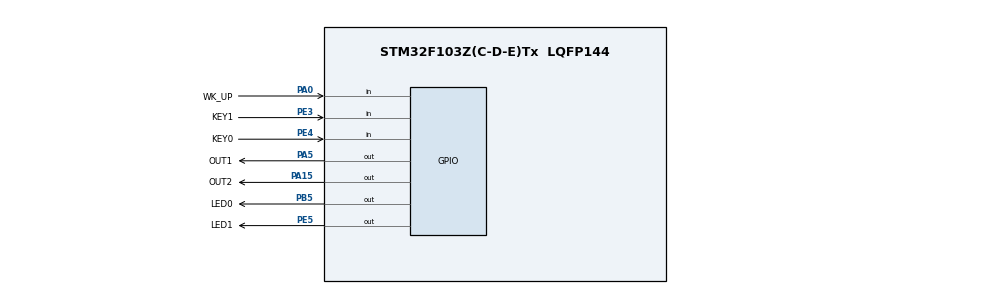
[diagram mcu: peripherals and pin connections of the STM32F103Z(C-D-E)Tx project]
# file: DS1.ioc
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Mcu.Family=STM32F1
Mcu.Name=STM32F103Z(C-D-E)Tx
Mcu.Package=LQFP144
NVIC.PriorityGroup=NVIC_PRIORITYGROUP_4
PA0-WKUP.GPIO_Label=WK_UP
PA0-WKUP.GPIO_PuPd=GPIO_PULLDOWN
PA0-WKUP.Signal=GPIO_Input
PA13.Mode=Serial_Wire
PA13.Signal=SYS_JTMS-SWDIO
PA14.Mode=Serial_Wire
PA14.Signal=SYS_JTCK-SWCLK
PA15.GPIO_Label=OUT2
PA15.Signal=GPIO_Output
PA5.GPIO_Label=OUT1
PA5.Signal=GPIO_Output
PB5.GPIO_Label=LED0
PB5.GPIO_ModeDefaultOutputPP=GPIO_MODE_OUTPUT_PP
PB5.PinState=GPIO_PIN_RESET
PB5.Signal=GPIO_Output
PE3.GPIO_Label=KEY1
PE3.GPIO_PuPd=GPIO_PULLUP
PE3.Signal=GPIO_Input
PE4.GPIO_Label=KEY0
PE4.GPIO_PuPd=GPIO_PULLUP
PE4.Signal=GPIO_Input
PE5.GPIO_Label=LED1
PE5.PinState=GPIO_PIN_RESET
PE5.Signal=GPIO_Output
ProjectManager.HeapSize=0x200
ProjectManager.StackSize=0x400
ProjectManager.TargetToolchain=STM32CubeIDE
RCC.APB1Freq_Value=8000000
RCC.APB2Freq_Value=8000000
board=custom

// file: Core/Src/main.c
/* USER CODE BEGIN Header */
/**
  ******************************************************************************
  * @file           : main.c
  * @brief          : Main program body
  ******************************************************************************
  * @attention
  *
  * <h2><center>&copy; Copyright (c) 2020 STMicroelectronics.
  * All rights reserved.</center></h2>
  *
  * This software component is licensed by ST under BSD 3-Clause license,
  * the "License"; You may not use this file except in compliance with the
  * License. You may obtain a copy of the License at:
  *                        opensource.org/licenses/BSD-3-Clause
  *
  ******************************************************************************
  */
/* USER CODE END Header */
#include "main.h"

/* USER CODE BEGIN PV */
uint8_t KEY_Scan(uint8_t mode);
/* USER CODE END PV */

void SystemClock_Config(void);
static void MX_GPIO_Init(void);

int main(void)
{

  /* MCU Configuration--------------------------------------------------------*/

  /* Reset of all peripherals, Initializes the Flash interface and the Systick. */
  HAL_Init();

  /* Configure the system clock */
  SystemClock_Config();

  /* Initialize all configured peripherals */
  MX_GPIO_Init();
  /* USER CODE BEGIN 2 */
  uint8_t MODE=1;

  //uint8_t MODE3=0;
  uint16_t i=0;
  uint16_t n=0;
  uint16_t npwm=50;
  int16_t FER=500;
  int16_t PWM=50;
  /* USER CODE END 2 */

  /* Infinite loop */
  while (1)
  {

  }
}

void SystemClock_Config(void)
{
  RCC_OscInitTypeDef RCC_OscInitStruct = {0};
  RCC_ClkInitTypeDef RCC_ClkInitStruct = {0};

  /** Initializes the RCC Oscillators according to the specified parameters
  * in the RCC_OscInitTypeDef structure.
  */
  RCC_OscInitStruct.OscillatorType = RCC_OSCILLATORTYPE_HSI;
  RCC_OscInitStruct.HSIState = RCC_HSI_ON;
  RCC_OscInitStruct.HSICalibrationValue = RCC_HSICALIBRATION_DEFAULT;
  RCC_OscInitStruct.PLL.PLLState = RCC_PLL_NONE;
  if (HAL_RCC_OscConfig(&RCC_OscInitStruct) != HAL_OK)
  {
    Error_Handler();
  }
  /** Initializes the CPU, AHB and APB buses clocks
  */
  RCC_ClkInitStruct.ClockType = RCC_CLOCKTYPE_HCLK|RCC_CLOCKTYPE_SYSCLK
                              |RCC_CLOCKTYPE_PCLK1|RCC_CLOCKTYPE_PCLK2;
  RCC_ClkInitStruct.SYSCLKSource = RCC_SYSCLKSOURCE_HSI;
  RCC_ClkInitStruct.AHBCLKDivider = RCC_SYSCLK_DIV1;
  RCC_ClkInitStruct.APB1CLKDivider = RCC_HCLK_DIV1;
  RCC_ClkInitStruct.APB2CLKDivider = RCC_HCLK_DIV1;

  if (HAL_RCC_ClockConfig(&RCC_ClkInitStruct, FLASH_LATENCY_0) != HAL_OK)
  {
    Error_Handler();
  }
}

static void MX_GPIO_Init(void)
{
  GPIO_InitTypeDef GPIO_InitStruct = {0};

  /* GPIO Ports Clock Enable */
  __HAL_RCC_GPIOE_CLK_ENABLE();
  __HAL_RCC_GPIOA_CLK_ENABLE();
  __HAL_RCC_GPIOB_CLK_ENABLE();

  /*Configure GPIO pin Output Level */
  HAL_GPIO_WritePin(LED1_GPIO_Port, LED1_Pin, GPIO_PIN_RESET);

  /*Configure GPIO pin Output Level */
  HAL_GPIO_WritePin(GPIOA, OUT1_Pin|OUT2_Pin, GPIO_PIN_RESET);

  /*Configure GPIO pin Output Level */
  HAL_GPIO_WritePin(LED0_GPIO_Port, LED0_Pin, GPIO_PIN_RESET);

  /*Configure GPIO pins : KEY1_Pin KEY0_Pin */
  GPIO_InitStruct.Pin = KEY1_Pin|KEY0_Pin;
  GPIO_InitStruct.Mode = GPIO_MODE_INPUT;
  GPIO_InitStruct.Pull = GPIO_PULLUP;
  HAL_GPIO_Init(GPIOE, &GPIO_InitStruct);

  /*Configure GPIO pin : LED1_Pin */
  GPIO_InitStruct.Pin = LED1_Pin;
  GPIO_InitStruct.Mode = GPIO_MODE_OUTPUT_PP;
  GPIO_InitStruct.Pull = GPIO_NOPULL;
  GPIO_InitStruct.Speed = GPIO_SPEED_FREQ_LOW;
  HAL_GPIO_Init(LED1_GPIO_Port, &GPIO_InitStruct);

  /*Configure GPIO pin : WK_UP_Pin */
  GPIO_InitStruct.Pin = WK_UP_Pin;
  GPIO_InitStruct.Mode = GPIO_MODE_INPUT;
  GPIO_InitStruct.Pull = GPIO_PULLDOWN;
  HAL_GPIO_Init(WK_UP_GPIO_Port, &GPIO_InitStruct);

  /*Configure GPIO pins : OUT1_Pin OUT2_Pin */
  GPIO_InitStruct.Pin = OUT1_Pin|OUT2_Pin;
  GPIO_InitStruct.Mode = GPIO_MODE_OUTPUT_PP;
  GPIO_InitStruct.Pull = GPIO_NOPULL;
  GPIO_InitStruct.Speed = GPIO_SPEED_FREQ_LOW;
  HAL_GPIO_Init(GPIOA, &GPIO_InitStruct);

  /*Configure GPIO pin : LED0_Pin */
  GPIO_InitStruct.Pin = LED0_Pin;
  GPIO_InitStruct.Mode = GPIO_MODE_OUTPUT_PP;
  GPIO_InitStruct.Pull = GPIO_NOPULL;
  GPIO_InitStruct.Speed = GPIO_SPEED_FREQ_LOW;
  HAL_GPIO_Init(LED0_GPIO_Port, &GPIO_InitStruct);

}

/* USER CODE BEGIN 4 */
uint8_t KEY_Scan(uint8_t mode)
{
	static uint8_t key_up=1;     //按键松开标志
    if(mode==1)key_up=1;    //支持连按
    if(key_up&&(KEY0==0||KEY1==0||WK_UP==1))
    {
        HAL_Delay(30);
        key_up=0;
        if(KEY0==0)       return 1;
        else if(KEY1==0)  return 2;
        else if(WK_UP==1) return 3;
    }else if(KEY0==1&&KEY1==1&&WK_UP==0)key_up=1;
    return 0;   //无按键按�??????????
}
/* USER CODE END 4 */

void Error_Handler(void)
{
}

/************************ (C) COPYRIGHT STMicroelectronics *****END OF FILE****/
